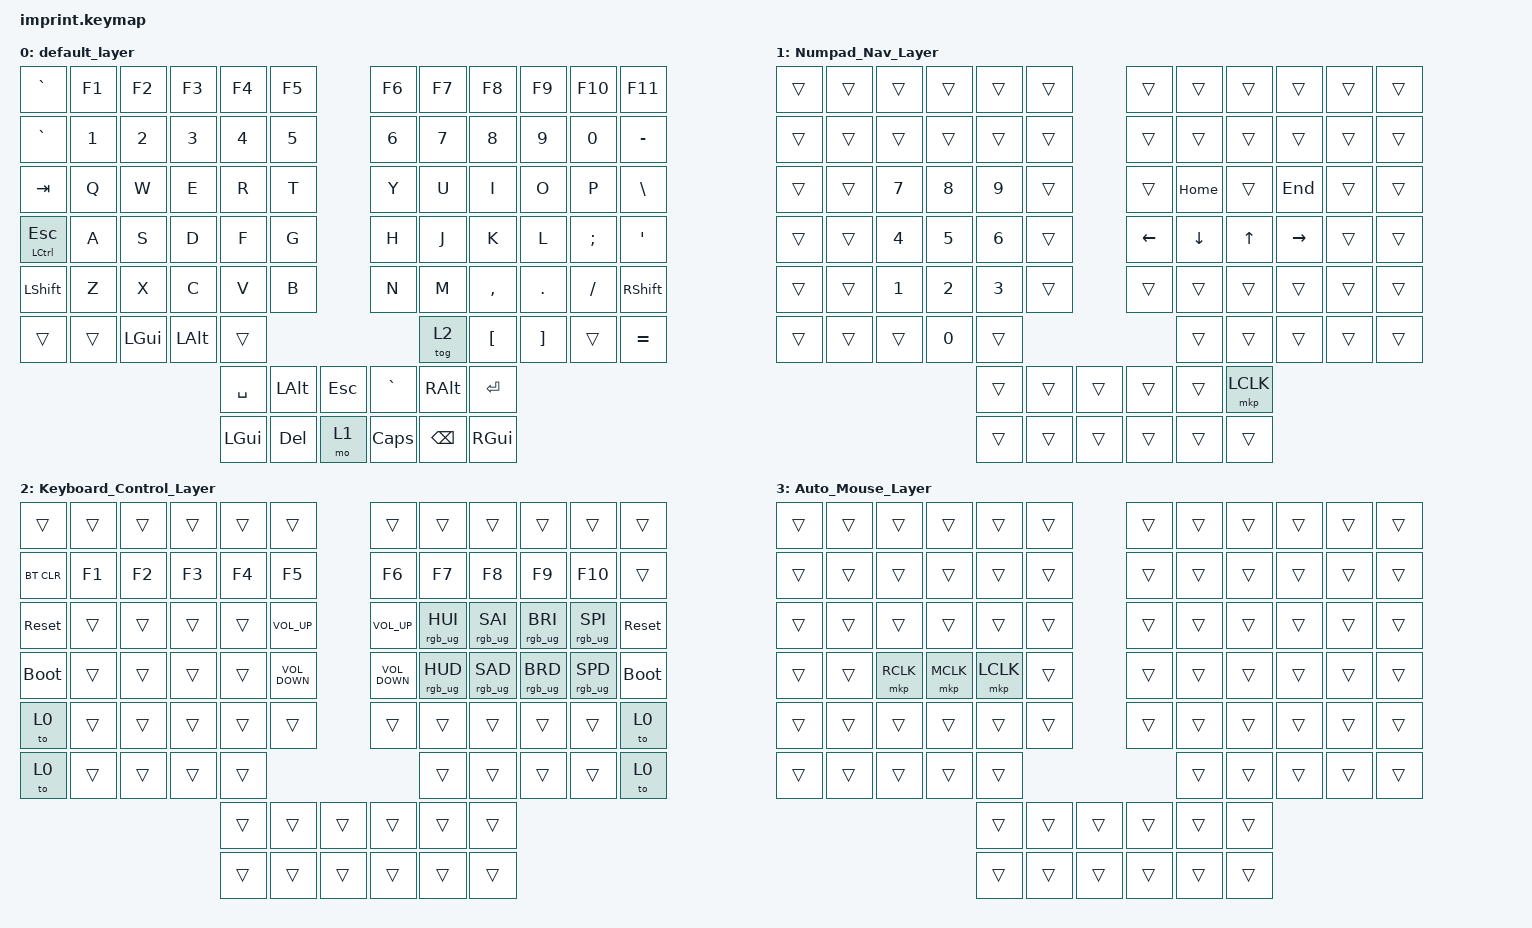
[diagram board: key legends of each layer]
#include <input/processors.dtsi>
#include <dt-bindings/zmk/input_transform.h>
#include <behaviors.dtsi>
#include <dt-bindings/zmk/bt.h>
#include <dt-bindings/zmk/keys.h>
#include <dt-bindings/zmk/pointing.h>
#include <dt-bindings/zmk/rgb.h>

/ {
    chosen { zmk,matrix-transform = &imprint_function_row_full_bottom_row; };

    behaviors {
        esc_control_behavior: esc_control_behavior {
            compatible = "zmk,behavior-hold-tap";
            label = "ESC_CONTROL_BEHAVIOR";
            bindings = <&kp>, <&kp>;

            #binding-cells = <2>;
            tapping-term-ms = <100>;
            hold-trigger-key-positions = <24>;
            hold-while-undecided;
        };
    };

    keymap {
        compatible = "zmk,keymap";

        default_layer {
            bindings = <
&kp GRAVE                               &kp F1  &kp F2    &kp F3    &kp F4     &kp F5                 &kp F6     &kp F7         &kp F8     &kp F9    &kp F10   &kp F11
&kp GRAVE                               &kp N1  &kp N2    &kp N3    &kp N4     &kp N5                 &kp N6     &kp N7         &kp N8     &kp N9    &kp N0    &kp MINUS
&kp TAB                                 &kp Q   &kp W     &kp E     &kp R      &kp T                  &kp Y      &kp U          &kp I      &kp O     &kp P     &kp BSLH
&esc_control_behavior LEFT_CONTROL ESC  &kp A   &kp S     &kp D     &kp F      &kp G                  &kp H      &kp J          &kp K      &kp L     &kp SEMI  &kp SQT
&kp LSHFT                               &kp Z   &kp X     &kp C     &kp V      &kp B                  &kp N      &kp M          &kp COMMA  &kp DOT   &kp FSLH  &kp RSHFT
&trans                                  &trans  &kp LGUI  &kp LALT  &trans                                       &tog 2         &kp LBKT   &kp RBKT  &trans    &kp EQUAL
                                                                    &kp SPACE  &kp LALT    &kp ESC    &kp GRAVE  &kp RALT       &kp ENTER
                                                                    &kp LGUI   &kp DELETE  &mo 1      &kp CAPS   &kp BACKSPACE  &kp RGUI
            >;
        };

        Numpad_Nav_Layer {
            bindings = <
&trans  &trans  &trans  &trans  &trans  &trans            &trans    &trans    &trans     &trans     &trans  &trans
&trans  &trans  &trans  &trans  &trans  &trans            &trans    &trans    &trans     &trans     &trans  &trans
&trans  &trans  &kp N7  &kp N8  &kp N9  &trans            &trans    &kp HOME  &trans     &kp END    &trans  &trans
&trans  &trans  &kp N4  &kp N5  &kp N6  &trans            &kp LEFT  &kp DOWN  &kp UP     &kp RIGHT  &trans  &trans
&trans  &trans  &kp N1  &kp N2  &kp N3  &trans            &trans    &trans    &trans     &trans     &trans  &trans
&trans  &trans  &trans  &kp N0  &trans                              &trans    &trans     &trans     &trans  &trans
                                &trans  &trans  &trans    &trans    &trans    &mkp LCLK
                                &trans  &trans  &trans    &trans    &trans    &trans
            >;
        };

        Keyboard_Control_Layer {
            bindings = <
&trans       &trans  &trans  &trans  &trans  &trans                       &trans             &trans           &trans           &trans           &trans           &trans
&bt BT_CLR   &kp F1  &kp F2  &kp F3  &kp F4  &kp F5                       &kp F6             &kp F7           &kp F8           &kp F9           &kp F10          &trans
&sys_reset   &trans  &trans  &trans  &trans  &kp C_VOLUME_UP              &kp C_VOLUME_UP    &rgb_ug RGB_HUI  &rgb_ug RGB_SAI  &rgb_ug RGB_BRI  &rgb_ug RGB_SPI  &sys_reset
&bootloader  &trans  &trans  &trans  &trans  &kp C_VOLUME_DOWN            &kp C_VOLUME_DOWN  &rgb_ug RGB_HUD  &rgb_ug RGB_SAD  &rgb_ug RGB_BRD  &rgb_ug RGB_SPD  &bootloader
&to 0        &trans  &trans  &trans  &trans  &trans                       &trans             &trans           &trans           &trans           &trans           &to 0
&to 0        &trans  &trans  &trans  &trans                                                  &trans           &trans           &trans           &trans           &to 0
                                     &trans  &trans             &trans    &trans             &trans           &trans
                                     &trans  &trans             &trans    &trans             &trans           &trans
            >;
        };

        Auto_Mouse_Layer {
            bindings = <
&trans  &trans  &trans     &trans     &trans     &trans            &trans  &trans  &trans  &trans  &trans  &trans
&trans  &trans  &trans     &trans     &trans     &trans            &trans  &trans  &trans  &trans  &trans  &trans
&trans  &trans  &trans     &trans     &trans     &trans            &trans  &trans  &trans  &trans  &trans  &trans
&trans  &trans  &mkp RCLK  &mkp MCLK  &mkp LCLK  &trans            &trans  &trans  &trans  &trans  &trans  &trans
&trans  &trans  &trans     &trans     &trans     &trans            &trans  &trans  &trans  &trans  &trans  &trans
&trans  &trans  &trans     &trans     &trans                               &trans  &trans  &trans  &trans  &trans
                                      &trans     &trans  &trans    &trans  &trans  &trans
                                      &trans     &trans  &trans    &trans  &trans  &trans
            >;
        };
    };
};

//right hand trackball configuration

&trackball_peripheral_listener {
    // activate layer 3 within 500ms of the trackball moving
    // <&zip_temp_layer 3 500>;
};

//left hand trackball configuration

&trackball_central_listener {
    input-processors =
        // multiply sensitivity by 1, divide by 3 (make it slower for scrolling),,,,,,,,
        <&zip_xy_scaler 1 3>,
        // make this trackball output scrolling events by default instead of cursor movement,,,,,,,,
        <&zip_xy_to_scroll_mapper>,
        // invert vertical scrolling so that the view moves in the same direction as the top of the trackball.,,,,,,,,
        <&zip_scroll_transform INPUT_TRANSFORM_Y_INVERT>;
};
